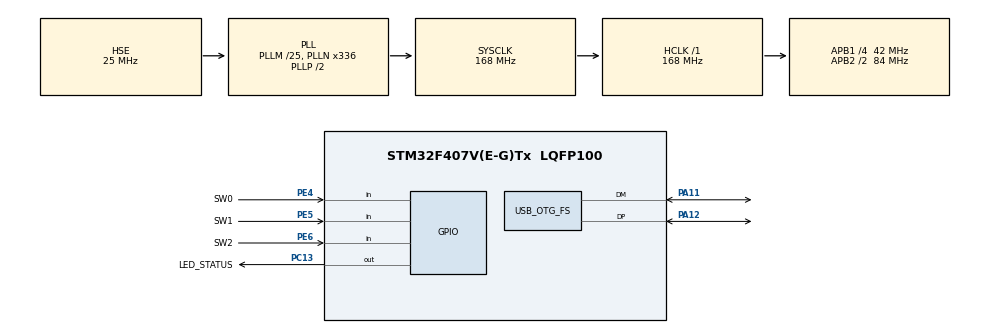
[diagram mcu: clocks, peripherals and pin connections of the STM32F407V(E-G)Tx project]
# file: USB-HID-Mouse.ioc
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Mcu.Family=STM32F4
Mcu.Name=STM32F407V(E-G)Tx
Mcu.Package=LQFP100
NVIC.OTG_FS_IRQn=true\:0\:0\:false\:false\:true\:true\:true
NVIC.PriorityGroup=NVIC_PRIORITYGROUP_4
PA11.Mode=Device_Only
PA11.Signal=USB_OTG_FS_DM
PA12.Mode=Device_Only
PA12.Signal=USB_OTG_FS_DP
PC13-ANTI_TAMP.GPIO_Label=LED_STATUS
PC13-ANTI_TAMP.Signal=GPIO_Output
PE4.GPIO_Label=SW0
PE4.Signal=GPIO_Input
PE5.GPIO_Label=SW1
PE5.Signal=GPIO_Input
PE6.GPIO_Label=SW2
PE6.Signal=GPIO_Input
PH0-OSC_IN.Mode=HSE-External-Oscillator
PH0-OSC_IN.Signal=RCC_OSC_IN
PH1-OSC_OUT.Mode=HSE-External-Oscillator
PH1-OSC_OUT.Signal=RCC_OSC_OUT
ProjectManager.HeapSize=0x200
ProjectManager.StackSize=0x400
ProjectManager.TargetToolchain=MDK-ARM V5.27
RCC.48MHZClocksFreq_Value=48000000
RCC.AHBFreq_Value=168000000
RCC.APB1CLKDivider=RCC_HCLK_DIV4
RCC.APB1Freq_Value=42000000
RCC.APB1TimFreq_Value=84000000
RCC.APB2CLKDivider=RCC_HCLK_DIV2
RCC.APB2Freq_Value=84000000
RCC.APB2TimFreq_Value=168000000
RCC.CortexFreq_Value=168000000
RCC.HCLKFreq_Value=168000000
RCC.HSE_VALUE=25000000
RCC.HSI_VALUE=16000000
RCC.LSE_VALUE=32768
RCC.PLLM=25
RCC.PLLN=336
RCC.PLLQ=7
RCC.SYSCLKFreq_VALUE=168000000
RCC.SYSCLKSource=RCC_SYSCLKSOURCE_PLLCLK
RCC.VCOOutputFreq_Value=336000000
USB_DEVICE.CLASS_NAME_FS=CUSTOM_HID
USB_DEVICE.VirtualMode-CUSTOM_HID_FS=CustomHid
USB_DEVICE.VirtualModeFS=Custom_Hid_FS
USB_OTG_FS.VirtualMode=Device_Only
VP_USB_DEVICE_VS_USB_DEVICE_CUSTOM_HID_FS.Mode=CUSTOM_HID_FS
board=custom

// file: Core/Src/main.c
/* USER CODE BEGIN Header */
/**
  ******************************************************************************
  * @file           : main.c
  * @brief          : Main program body
  ******************************************************************************
  * @attention
  *
  * <h2><center>&copy; Copyright (c) 2024 STMicroelectronics.
  * All rights reserved.</center></h2>
  *
  * This software component is licensed by ST under Ultimate Liberty license
  * SLA0044, the "License"; You may not use this file except in compliance with
  * the License. You may obtain a copy of the License at:
  *                             www.st.com/SLA0044
  *
  ******************************************************************************
  */
/* USER CODE END Header */
#include "main.h"
#include "usb_device.h"
#include "gpio.h"

/* USER CODE BEGIN Includes */
#include "usbd_custom_hid_if.h"

#include "HID.h"
/* USER CODE END Includes */

/* USER CODE BEGIN PV */
static HID_MouseReport mouse = {0};
/* USER CODE END PV */

void SystemClock_Config(void);

int main(void)
{

  /* MCU Configuration--------------------------------------------------------*/

  /* Reset of all peripherals, Initializes the Flash interface and the Systick. */
  HAL_Init();

  /* Configure the system clock */
  SystemClock_Config();

  /* Initialize all configured peripherals */
  MX_GPIO_Init();
  MX_USB_DEVICE_Init();

  /* Infinite loop */
  /* USER CODE BEGIN WHILE */
  while (1)
  {
    if (USB_IsConnected()) {
      HAL_GPIO_WritePin(LED_STATUS_GPIO_Port, LED_STATUS_Pin, GPIO_PIN_RESET);

      if (HID_IsReady()) {
        if (HAL_GPIO_ReadPin(SW0_GPIO_Port, SW0_Pin) == GPIO_PIN_RESET) {
          mouse.X = 10;
        }
        else if (HAL_GPIO_ReadPin(SW1_GPIO_Port, SW1_Pin) == GPIO_PIN_RESET) {
          mouse.X = -10;
        }
        else {
          mouse.X = 0;
        }

        mouse.LeftClick = HAL_GPIO_ReadPin(SW2_GPIO_Port, SW2_Pin) == GPIO_PIN_RESET;
        USBD_CUSTOM_HID_SendReport(&hUsbDeviceFS, (uint8_t*) &mouse, sizeof(mouse));
      }
    }
    else {
      HAL_GPIO_TogglePin(LED_STATUS_GPIO_Port, LED_STATUS_Pin);
      HAL_Delay(200);
    }
    /* USER CODE END WHILE */

  }
}

void SystemClock_Config(void)
{
  RCC_OscInitTypeDef RCC_OscInitStruct = {0};
  RCC_ClkInitTypeDef RCC_ClkInitStruct = {0};

  /** Configure the main internal regulator output voltage
  */
  __HAL_RCC_PWR_CLK_ENABLE();
  __HAL_PWR_VOLTAGESCALING_CONFIG(PWR_REGULATOR_VOLTAGE_SCALE1);
  /** Initializes the RCC Oscillators according to the specified parameters
  * in the RCC_OscInitTypeDef structure.
  */
  RCC_OscInitStruct.OscillatorType = RCC_OSCILLATORTYPE_HSE;
  RCC_OscInitStruct.HSEState = RCC_HSE_ON;
  RCC_OscInitStruct.PLL.PLLState = RCC_PLL_ON;
  RCC_OscInitStruct.PLL.PLLSource = RCC_PLLSOURCE_HSE;
  RCC_OscInitStruct.PLL.PLLM = 25;
  RCC_OscInitStruct.PLL.PLLN = 336;
  RCC_OscInitStruct.PLL.PLLP = RCC_PLLP_DIV2;
  RCC_OscInitStruct.PLL.PLLQ = 7;
  if (HAL_RCC_OscConfig(&RCC_OscInitStruct) != HAL_OK)
  {
    Error_Handler();
  }
  /** Initializes the CPU, AHB and APB buses clocks
  */
  RCC_ClkInitStruct.ClockType = RCC_CLOCKTYPE_HCLK|RCC_CLOCKTYPE_SYSCLK
                              |RCC_CLOCKTYPE_PCLK1|RCC_CLOCKTYPE_PCLK2;
  RCC_ClkInitStruct.SYSCLKSource = RCC_SYSCLKSOURCE_PLLCLK;
  RCC_ClkInitStruct.AHBCLKDivider = RCC_SYSCLK_DIV1;
  RCC_ClkInitStruct.APB1CLKDivider = RCC_HCLK_DIV4;
  RCC_ClkInitStruct.APB2CLKDivider = RCC_HCLK_DIV2;

  if (HAL_RCC_ClockConfig(&RCC_ClkInitStruct, FLASH_LATENCY_5) != HAL_OK)
  {
    Error_Handler();
  }
}

void Error_Handler(void)
{
  __disable_irq();
  while (1)
  {
  }
}

/************************ (C) COPYRIGHT STMicroelectronics *****END OF FILE****/
